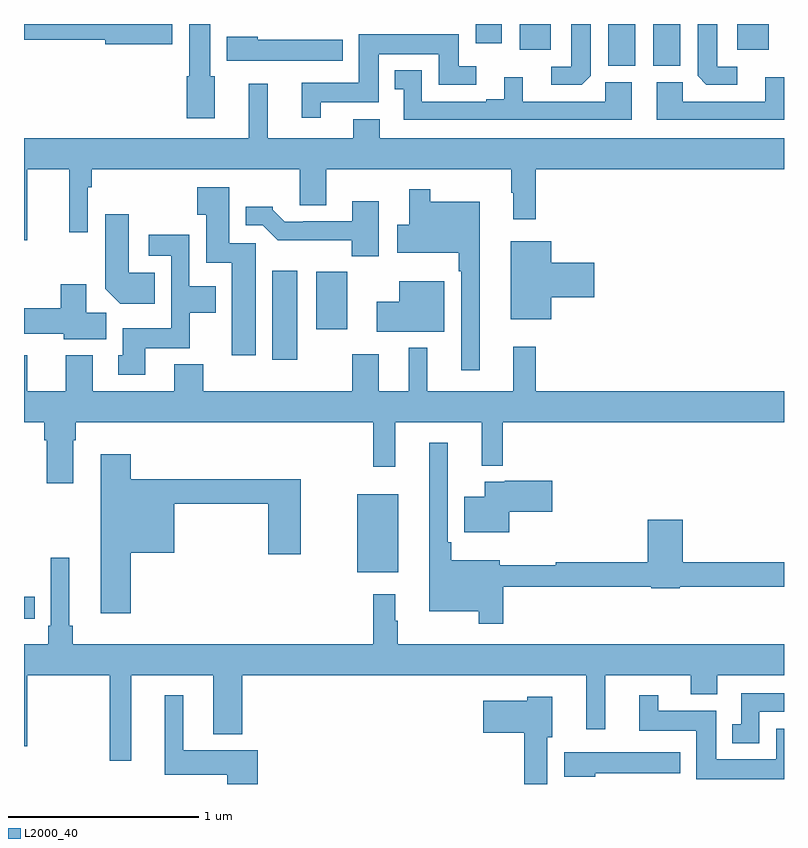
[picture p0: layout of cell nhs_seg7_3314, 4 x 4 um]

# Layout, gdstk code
import gdstk
lib = gdstk.Library(unit=1e-6, precision=1e-09)
def R(c, l, rs):  # rectangles x0, y0, x1, y1
    for r in rs: c.add(gdstk.rectangle(r[:2], r[2:], *l))
def P(c, l, *ps):  # polygons
    for p in ps: c.add(gdstk.Polygon(p, *l))
L2000_40 = (2000, 40)

nhs_seg7_3314 = lib.new_cell('nhs_seg7_3314')
R(nhs_seg7_3314, L2000_40, [(321,1044.87,321.056,1044.986), (322.754,1045.115,322.969,1045.525), (322.307,1046.232,322.438,1046.701), (324.074,1047.779,324.217,1048), (324.311,1047.779,324.454,1048), (323.609,1047.864,323.773,1048), (324.755,1047.864,324.919,1048), (323.378,1047.9,323.515,1048)])
P(nhs_seg7_3314, L2000_40, [(324.754,1047.774),(324.649,1047.774),(324.649,1048),(324.545,1048),(324.545,1047.838),(324.546,1047.838),(324.546,1047.727),(324.592,1047.681),(324.754,1047.681)],
  [(323.982,1047.727),(323.982,1047.838),(323.983,1047.838),(323.983,1048),(323.879,1048),(323.879,1047.774),(323.775,1047.774),(323.775,1047.681),(323.936,1047.681)],
  [(322.003,1047.726),(321.979,1047.726),(321.979,1048),(321.869,1048),(321.869,1047.726),(321.857,1047.726),(321.857,1047.504),(322.003,1047.504)],
  [(321.781,1048),(321,1048),(321,1047.916),(321.428,1047.916),(321.428,1047.893),(321.781,1047.893)],
  [(322.561,1047.587),(322.867,1047.587),(322.867,1047.842),(323.183,1047.842),(323.183,1047.681),(323.38,1047.681),(323.38,1047.777),(323.287,1047.777),(323.287,1047.946),(322.763,1047.946),(322.763,1047.691),(322.463,1047.691),(322.463,1047.507),(322.561,1047.507)],
  [(322.678,1047.916),(322.23,1047.916),(322.23,1047.934),(322.068,1047.934),(322.068,1047.806),(322.678,1047.806)],
  [(324.199,1047.694),(324.06,1047.694),(324.06,1047.591),(323.626,1047.591),(323.626,1047.721),(323.528,1047.721),(323.528,1047.603),(323.432,1047.603),(323.432,1047.591),(323.094,1047.591),(323.094,1047.757),(322.952,1047.757),(322.952,1047.657),(322.998,1047.657),(322.998,1047.495),(324.199,1047.495)],
  [(325,1047.721),(324.902,1047.721),(324.902,1047.591),(324.468,1047.591),(324.468,1047.694),(324.329,1047.694),(324.329,1047.495),(325,1047.495)],
  [(321.016,1047.236),(321.238,1047.236),(321.238,1046.904),(321.336,1046.904),(321.336,1047.14),(321.356,1047.14),(321.356,1047.236),(322.451,1047.236),(322.451,1047.046),(322.591,1047.046),(322.591,1047.236),(323.565,1047.236),(323.565,1047.113),(323.576,1047.113),(323.576,1046.973),(323.693,1046.973),(323.693,1047.236),(325,1047.236),(325,1047.4),(322.873,1047.4),(322.873,1047.499),(322.733,1047.499),(322.733,1047.4),(322.283,1047.4),(322.283,1047.685),(322.184,1047.685),(322.184,1047.4),(321,1047.4),(321,1046.862),(321.016,1046.862)],
  [(322.219,1046.847),(322.081,1046.847),(322.081,1047.142),(321.913,1047.142),(321.913,1046.995),(321.959,1046.995),(321.959,1046.744),(322.094,1046.744),(322.094,1046.256),(322.219,1046.256)],
  [(323.398,1047.064),(323.137,1047.064),(323.137,1047.13),(323.027,1047.13),(323.027,1046.943),(322.964,1046.943),(322.964,1046.795),(323.289,1046.795),(323.289,1046.699),(323.301,1046.699),(323.301,1046.178),(323.398,1046.178)],
  [(322.867,1047.067),(322.727,1047.067),(322.727,1046.961),(322.471,1046.961),(322.471,1046.958),(322.372,1046.958),(322.308,1047.022),(322.308,1047.037),(322.166,1047.037),(322.166,1046.94),(322.257,1046.94),(322.336,1046.862),(322.725,1046.862),(322.725,1046.777),(322.867,1046.777)],
  [(321.689,1046.692),(321.55,1046.692),(321.55,1046.998),(321.428,1046.998),(321.428,1046.606),(321.506,1046.528),(321.689,1046.528)],
  [(321.637,1046.294),(321.873,1046.294),(321.873,1046.48),(322.009,1046.48),(322.009,1046.62),(321.87,1046.62),(321.87,1046.89),(321.657,1046.89),(321.657,1046.781),(321.774,1046.781),(321.774,1046.398),(321.521,1046.398),(321.521,1046.256),(321.497,1046.256),(321.497,1046.154),(321.637,1046.154)],
  [(323.776,1046.561),(324.001,1046.561),(324.001,1046.744),(323.776,1046.744),(323.776,1046.857),(323.561,1046.857),(323.561,1046.447),(323.776,1046.447)],
  [(322.702,1046.535),(322.7,1046.535),(322.7,1046.695),(322.538,1046.695),(322.538,1046.394),(322.702,1046.394)],
  [(323.212,1046.647),(322.976,1046.647),(322.976,1046.539),(322.857,1046.539),(322.857,1046.381),(323.212,1046.381)],
  [(321.433,1046.48),(321.328,1046.48),(321.328,1046.629),(321.194,1046.629),(321.194,1046.504),(321,1046.504),(321,1046.369),(321.21,1046.369),(321.21,1046.342),(321.433,1046.342)],
  [(321.259,1045.808),(321.272,1045.808),(321.272,1045.904),(322.837,1045.904),(322.837,1045.671),(322.955,1045.671),(322.955,1045.904),(323.408,1045.904),(323.408,1045.676),(323.52,1045.676),(323.52,1045.904),(325,1045.904),(325,1046.068),(323.693,1046.068),(323.693,1046.302),(323.576,1046.302),(323.576,1046.068),(323.123,1046.068),(323.123,1046.296),(323.024,1046.296),(323.024,1046.068),(322.867,1046.068),(322.867,1046.263),(322.727,1046.263),(322.727,1046.068),(321.944,1046.068),(321.944,1046.209),(321.791,1046.209),(321.791,1046.068),(321.361,1046.068),(321.361,1046.257),(321.221,1046.257),(321.221,1046.068),(321.016,1046.068),(321.016,1046.257),(321,1046.257),(321,1045.904),(321.107,1045.904),(321.107,1045.808),(321.119,1045.808),(321.119,1045.584),(321.259,1045.584)],
  [(323.522,1045.038),(324.3,1045.038),(324.3,1045.03),(324.45,1045.03),(324.45,1045.038),(325,1045.038),(325,1045.166),(324.467,1045.166),(324.467,1045.39),(324.284,1045.39),(324.284,1045.166),(323.799,1045.166),(323.799,1045.151),(323.503,1045.151),(323.503,1045.177),(323.249,1045.177),(323.249,1045.273),(323.229,1045.273),(323.229,1045.795),(323.132,1045.795),(323.132,1044.908),(323.394,1044.908),(323.394,1044.843),(323.522,1044.843)],
  [(321.563,1045.217),(321.79,1045.217),(321.79,1045.474),(322.286,1045.474),(322.286,1045.209),(322.456,1045.209),(322.456,1045.603),(321.563,1045.603),(321.563,1045.735),(321.404,1045.735),(321.404,1044.9),(321.563,1044.9)],
  [(323.554,1045.433),(323.779,1045.433),(323.779,1045.596),(323.53,1045.596),(323.53,1045.591),(323.426,1045.591),(323.426,1045.513),(323.318,1045.513),(323.318,1045.325),(323.554,1045.325)],
  [(322.966,1044.86),(322.954,1044.86),(322.954,1045),(322.837,1045),(322.837,1044.736),(321.257,1044.736),(321.257,1044.832),(321.238,1044.832),(321.238,1045.192),(321.141,1045.192),(321.141,1044.832),(321.128,1044.832),(321.128,1044.736),(321,1044.736),(321,1044.198),(321.016,1044.198),(321.016,1044.572),(321.451,1044.572),(321.451,1044.123),(321.565,1044.123),(321.565,1044.572),(321.995,1044.572),(321.995,1044.263),(322.148,1044.263),(322.148,1044.572),(323.96,1044.572),(323.96,1044.288),(324.059,1044.288),(324.059,1044.572),(324.509,1044.572),(324.509,1044.473),(324.649,1044.473),(324.649,1044.572),(325,1044.572),(325,1044.736),(322.966,1044.736)],
  [(324.87,1044.381),(325,1044.381),(325,1044.477),(324.774,1044.477),(324.774,1044.315),(324.728,1044.315),(324.728,1044.215),(324.87,1044.215)],
  [(322.229,1044.178),(321.838,1044.178),(321.838,1044.466),(321.74,1044.466),(321.74,1044.05),(322.07,1044.05),(322.07,1044),(322.229,1044)],
  [(325,1044.291),(324.959,1044.291),(324.959,1044.13),(324.643,1044.13),(324.643,1044.385),(324.337,1044.385),(324.337,1044.466),(324.239,1044.466),(324.239,1044.281),(324.539,1044.281),(324.539,1044.026),(325,1044.026)],
  [(323.755,1044.246),(323.779,1044.246),(323.779,1044.46),(323.649,1044.46),(323.649,1044.439),(323.418,1044.439),(323.418,1044.269),(323.633,1044.269),(323.633,1044),(323.755,1044)],
  [(324.006,1044.056),(324.454,1044.056),(324.454,1044.166),(323.844,1044.166),(323.844,1044.038),(324.006,1044.038)])

lib.write_gds('nhs_seg7_3314.gds')
